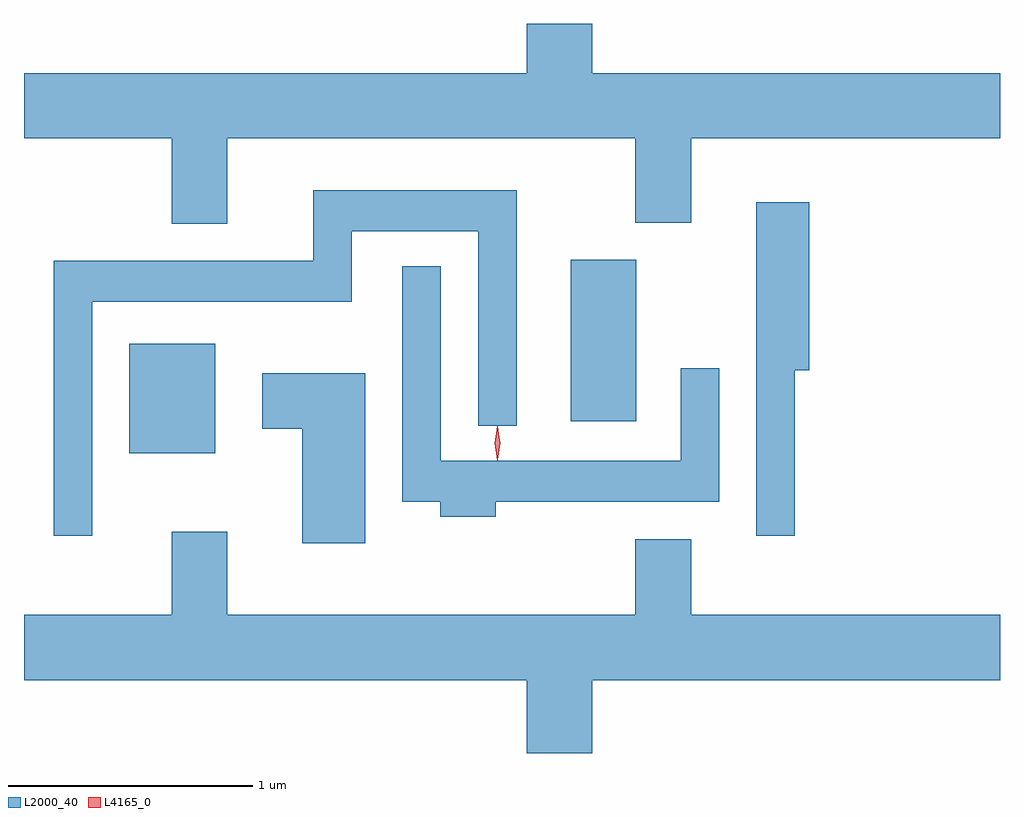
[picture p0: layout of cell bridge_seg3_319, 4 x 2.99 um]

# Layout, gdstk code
import gdstk
lib = gdstk.Library(unit=1e-6, precision=1e-09)
def R(c, l, rs):  # rectangles x0, y0, x1, y1
    for r in rs: c.add(gdstk.rectangle(r[:2], r[2:], *l))
def P(c, l, *ps):  # polygons
    for p in ps: c.add(gdstk.Polygon(p, *l))
L2000_40 = (2000, 40)
L4165_0 = (4165, 0)

bridge_seg3_319 = lib.new_cell('bridge_seg3_319')
R(bridge_seg3_319, L2000_40, [(553.106,1233.506,553.459,1233.954), (554.916,1233.636,555.184,1234.299)])
P(bridge_seg3_319, L2000_40, [(553.509,1234.796),(555.181,1234.796),(555.181,1234.451),(555.409,1234.451),(555.409,1234.796),(556.675,1234.796),(556.675,1235.064),(555.004,1235.064),(555.004,1235.266),(554.736,1235.266),(554.736,1235.064),(552.675,1235.064),(552.675,1234.796),(553.281,1234.796),(553.281,1234.446),(553.509,1234.446)],
  [(552.954,1234.126),(554.019,1234.126),(554.019,1234.416),(554.536,1234.416),(554.536,1233.618),(554.694,1233.618),(554.694,1234.584),(553.861,1234.584),(553.861,1234.294),(552.796,1234.294),(552.796,1233.168),(552.954,1233.168)],
  [(555.834,1233.846),(555.894,1233.846),(555.894,1234.534),(555.676,1234.534),(555.676,1233.168),(555.834,1233.168)],
  [(554.609,1233.306),(555.524,1233.306),(555.524,1233.853),(555.366,1233.853),(555.366,1233.474),(554.384,1233.474),(554.384,1234.273),(554.226,1234.273),(554.226,1233.306),(554.381,1233.306),(554.381,1233.246),(554.609,1233.246)],
  [(554.074,1233.834),(553.651,1233.834),(553.651,1233.606),(553.816,1233.606),(553.816,1233.136),(554.074,1233.136)],
  [(555.004,1232.576),(556.675,1232.576),(556.675,1232.844),(555.409,1232.844),(555.409,1233.154),(555.181,1233.154),(555.181,1232.844),(553.509,1232.844),(553.509,1233.184),(553.281,1233.184),(553.281,1232.844),(552.675,1232.844),(552.675,1232.576),(554.736,1232.576),(554.736,1232.276),(555.004,1232.276)])
P(bridge_seg3_319, L4165_0, [(554.615,1233.477),(554.615,1233.477),(554.605,1233.547),(554.615,1233.616),(554.615,1233.616),(554.616,1233.616),(554.625,1233.547),(554.616,1233.477)],
  [(554.616,1233.479),(554.616,1233.48),(554.606,1233.546),(554.616,1233.612),(554.616,1233.613),(554.617,1233.612),(554.626,1233.546),(554.617,1233.48)])

lib.write_gds('bridge_seg3_319.gds')
